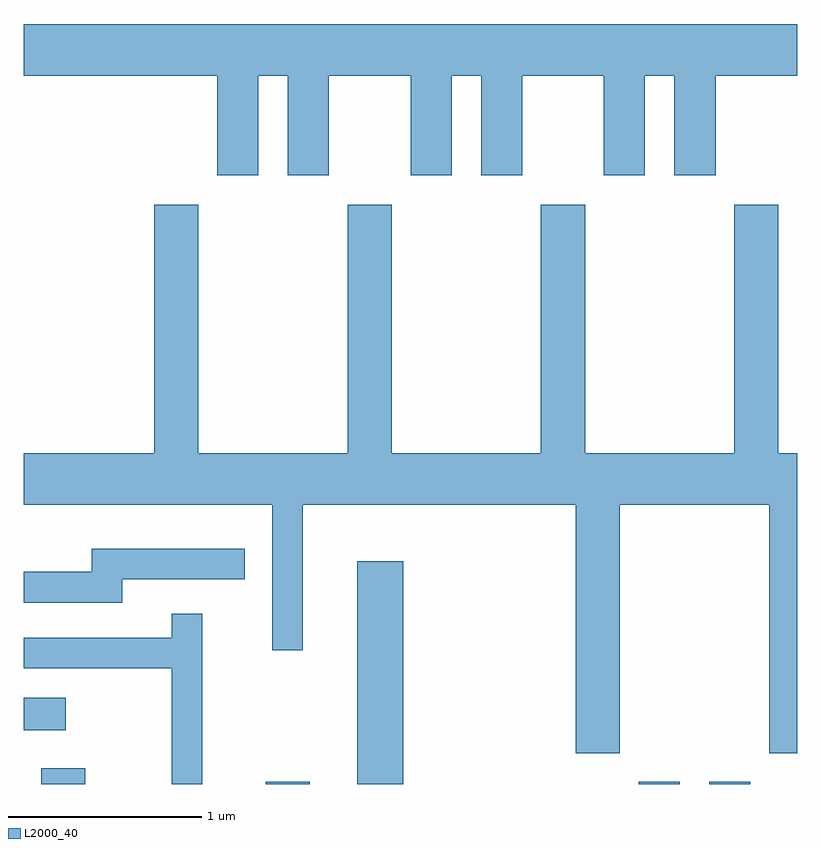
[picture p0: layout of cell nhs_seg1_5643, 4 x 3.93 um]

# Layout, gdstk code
import gdstk
lib = gdstk.Library(unit=1e-6, precision=1e-09)
def R(c, l, rs):  # rectangles x0, y0, x1, y1
    for r in rs: c.add(gdstk.rectangle(r[:2], r[2:], *l))
def P(c, l, *ps):  # polygons
    for p in ps: c.add(gdstk.Polygon(p, *l))
L2000_40 = (2000, 40)

nhs_seg1_5643 = lib.new_cell('nhs_seg1_5643')
R(nhs_seg1_5643, L2000_40, [(355.701,873.712,355.929,873.794), (356.861,873.712,357.089,873.724), (357.336,873.712,357.574,874.864), (358.791,873.712,359.004,873.724), (359.156,873.712,359.369,873.724), (355.611,873.991,355.828,874.159)])
P(nhs_seg1_5643, L2000_40, [(356.824,877.376),(356.976,877.376),(356.976,876.861),(357.189,876.861),(357.189,877.376),(357.611,877.376),(357.611,876.861),(357.824,876.861),(357.824,877.376),(357.976,877.376),(357.976,876.861),(358.189,876.861),(358.189,877.376),(358.611,877.376),(358.611,876.861),(358.824,876.861),(358.824,877.376),(358.976,877.376),(358.976,876.861),(359.189,876.861),(359.189,877.376),(359.611,877.376),(359.611,877.644),(355.611,877.644),(355.611,877.376),(356.611,877.376),(356.611,876.861),(356.824,876.861)],
  [(358.694,875.156),(359.466,875.156),(359.466,873.871),(359.611,873.871),(359.611,875.424),(359.514,875.424),(359.514,876.709),(359.286,876.709),(359.286,875.424),(358.514,875.424),(358.514,876.709),(358.286,876.709),(358.286,875.424),(357.514,875.424),(357.514,876.709),(357.286,876.709),(357.286,875.424),(356.514,875.424),(356.514,876.709),(356.286,876.709),(356.286,875.424),(355.611,875.424),(355.611,875.156),(356.896,875.156),(356.896,874.403),(357.054,874.403),(357.054,875.156),(358.466,875.156),(358.466,873.871),(358.694,873.871)],
  [(356.119,874.771),(356.753,874.771),(356.753,874.929),(355.961,874.929),(355.961,874.809),(355.611,874.809),(355.611,874.651),(356.119,874.651)],
  [(356.534,874.593),(356.376,874.593),(356.376,874.469),(355.611,874.469),(355.611,874.311),(356.376,874.311),(356.376,873.712),(356.534,873.712)])

lib.write_gds('nhs_seg1_5643.gds')
